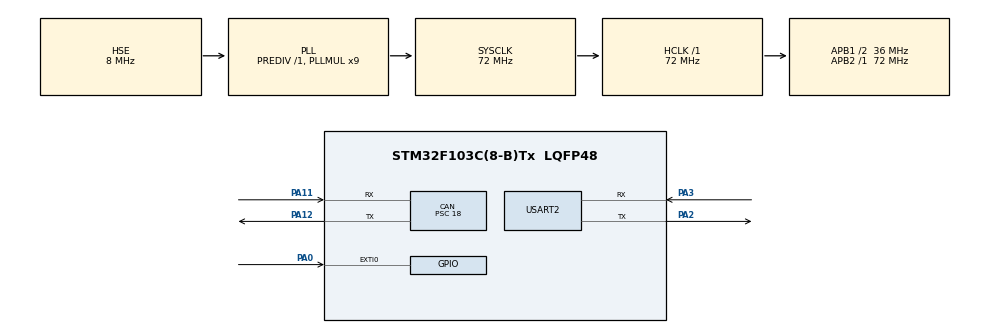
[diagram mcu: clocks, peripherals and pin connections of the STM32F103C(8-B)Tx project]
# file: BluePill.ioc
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CAN.BS1=CAN_BS1_2TQ
CAN.CalculateBaudRate=500000
CAN.CalculateTimeBit=2000
CAN.CalculateTimeQuantum=500.0
CAN.Prescaler=18
Mcu.Family=STM32F1
Mcu.Name=STM32F103C(8-B)Tx
Mcu.Package=LQFP48
NVIC.PriorityGroup=NVIC_PRIORITYGROUP_4
PA0-WKUP.Signal=GPXTI0
PA11.Mode=CAN_Activate
PA11.Signal=CAN_RX
PA12.Mode=CAN_Activate
PA12.Signal=CAN_TX
PA13.Mode=Serial_Wire
PA13.Signal=SYS_JTMS-SWDIO
PA14.Mode=Serial_Wire
PA14.Signal=SYS_JTCK-SWCLK
PA2.Mode=Asynchronous
PA2.Signal=USART2_TX
PA3.Mode=Asynchronous
PA3.Signal=USART2_RX
PD0-OSC_IN.Mode=HSE-External-Oscillator
PD0-OSC_IN.Signal=RCC_OSC_IN
PD1-OSC_OUT.Mode=HSE-External-Oscillator
PD1-OSC_OUT.Signal=RCC_OSC_OUT
ProjectManager.HeapSize=0x200
ProjectManager.StackSize=0x400
ProjectManager.TargetToolchain=STM32CubeIDE
RCC.ADCPresc=RCC_ADCPCLK2_DIV6
RCC.AHBFreq_Value=72000000
RCC.APB1CLKDivider=RCC_HCLK_DIV2
RCC.APB1Freq_Value=36000000
RCC.APB1TimFreq_Value=72000000
RCC.APB2Freq_Value=72000000
RCC.APB2TimFreq_Value=72000000
RCC.HCLKFreq_Value=72000000
RCC.PLLMUL=RCC_PLL_MUL9
RCC.PLLSourceVirtual=RCC_PLLSOURCE_HSE
RCC.SYSCLKFreq_VALUE=72000000
RCC.SYSCLKSource=RCC_SYSCLKSOURCE_PLLCLK
RCC.USBFreq_Value=72000000
USART2.VirtualMode=VM_ASYNC
board=custom

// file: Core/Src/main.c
/* USER CODE BEGIN Header */
/**
  ******************************************************************************
  * @file           : main.c
  * @brief          : Main program body
  ******************************************************************************
  * @attention
  *
  * Copyright (c) 2024 STMicroelectronics.
  * All rights reserved.
  *
  * This software is licensed under terms that can be found in the LICENSE file
  * in the root directory of this software component.
  * If no LICENSE file comes with this software, it is provided AS-IS.
  *
  ******************************************************************************
  */
/* USER CODE END Header */
#include "main.h"

CAN_HandleTypeDef hcan;

UART_HandleTypeDef huart2;

void SystemClock_Config(void);
static void MX_GPIO_Init(void);
static void MX_USART2_UART_Init(void);
static void MX_CAN_Init(void);

/* USER CODE BEGIN 0 */
int __io_putchar(int ch)
{
	HAL_UART_Transmit(&huart2, (uint8_t*)&ch, 1, 1000);
}

CAN_TxHeaderTypeDef TxHeader;
CAN_RxHeaderTypeDef RxHeader;

uint8_t TxData[3] = {0x01, 0xF4,  3};
uint8_t RxData[8] = {0};

uint32_t TxMailBox;

uint32_t adcValue = 0;

void CAN_TxHeaderInit()
{

	TxHeader.DLC = 3;
	TxHeader.StdId = 0x103;
	TxHeader.IDE = CAN_ID_STD;
	TxHeader.RTR = CAN_RTR_DATA;
	if(HAL_CAN_AddTxMessage(&hcan, &TxHeader,TxData , &TxMailBox) != HAL_OK)
	{
		Error_Handler();
	}
	while(HAL_CAN_IsTxMessagePending(&hcan, TxMailBox));
	printf("Message Sent\n");
}
/* USER CODE END 0 */
void EXTI0_IRQHandler(void)
{
    if (__HAL_GPIO_EXTI_GET_IT(GPIO_PIN_0) != SET)
    {
        __HAL_GPIO_EXTI_CLEAR_IT(GPIO_PIN_0);

       CAN_TxHeaderInit();
    }
}

int main(void)
{

  /* MCU Configuration--------------------------------------------------------*/

  /* Reset of all peripherals, Initializes the Flash interface and the Systick. */
  HAL_Init();

  /* Configure the system clock */
  SystemClock_Config();

  /* Initialize all configured peripherals */
  MX_GPIO_Init();
  MX_USART2_UART_Init();
  MX_CAN_Init();
  /* USER CODE BEGIN 2 */

  HAL_CAN_Start(&hcan);
  CAN_TxHeaderInit();

  /* USER CODE END 2 */

  /* Infinite loop */
  while (1)
  {

  }
}

void SystemClock_Config(void)
{
  RCC_OscInitTypeDef RCC_OscInitStruct = {0};
  RCC_ClkInitTypeDef RCC_ClkInitStruct = {0};

  /** Initializes the RCC Oscillators according to the specified parameters
  * in the RCC_OscInitTypeDef structure.
  */
  RCC_OscInitStruct.OscillatorType = RCC_OSCILLATORTYPE_HSE;
  RCC_OscInitStruct.HSEState = RCC_HSE_ON;
  RCC_OscInitStruct.HSEPredivValue = RCC_HSE_PREDIV_DIV1;
  RCC_OscInitStruct.HSIState = RCC_HSI_ON;
  RCC_OscInitStruct.PLL.PLLState = RCC_PLL_ON;
  RCC_OscInitStruct.PLL.PLLSource = RCC_PLLSOURCE_HSE;
  RCC_OscInitStruct.PLL.PLLMUL = RCC_PLL_MUL9;
  if (HAL_RCC_OscConfig(&RCC_OscInitStruct) != HAL_OK)
  {
    Error_Handler();
  }

  /** Initializes the CPU, AHB and APB buses clocks
  */
  RCC_ClkInitStruct.ClockType = RCC_CLOCKTYPE_HCLK|RCC_CLOCKTYPE_SYSCLK
                              |RCC_CLOCKTYPE_PCLK1|RCC_CLOCKTYPE_PCLK2;
  RCC_ClkInitStruct.SYSCLKSource = RCC_SYSCLKSOURCE_PLLCLK;
  RCC_ClkInitStruct.AHBCLKDivider = RCC_SYSCLK_DIV1;
  RCC_ClkInitStruct.APB1CLKDivider = RCC_HCLK_DIV2;
  RCC_ClkInitStruct.APB2CLKDivider = RCC_HCLK_DIV1;

  if (HAL_RCC_ClockConfig(&RCC_ClkInitStruct, FLASH_LATENCY_2) != HAL_OK)
  {
    Error_Handler();
  }
}

static void MX_CAN_Init(void)
{

  hcan.Instance = CAN1;
  hcan.Init.Prescaler = 18;
  hcan.Init.Mode = CAN_MODE_NORMAL;
  hcan.Init.SyncJumpWidth = CAN_SJW_1TQ;
  hcan.Init.TimeSeg1 = CAN_BS1_2TQ;
  hcan.Init.TimeSeg2 = CAN_BS2_1TQ;
  hcan.Init.TimeTriggeredMode = DISABLE;
  hcan.Init.AutoBusOff = DISABLE;
  hcan.Init.AutoWakeUp = DISABLE;
  hcan.Init.AutoRetransmission = DISABLE;
  hcan.Init.ReceiveFifoLocked = DISABLE;
  hcan.Init.TransmitFifoPriority = DISABLE;
  if (HAL_CAN_Init(&hcan) != HAL_OK)
  {
    Error_Handler();
  }

}

static void MX_USART2_UART_Init(void)
{

  huart2.Instance = USART2;
  huart2.Init.BaudRate = 115200;
  huart2.Init.WordLength = UART_WORDLENGTH_8B;
  huart2.Init.StopBits = UART_STOPBITS_1;
  huart2.Init.Parity = UART_PARITY_NONE;
  huart2.Init.Mode = UART_MODE_TX_RX;
  huart2.Init.HwFlowCtl = UART_HWCONTROL_NONE;
  huart2.Init.OverSampling = UART_OVERSAMPLING_16;
  if (HAL_UART_Init(&huart2) != HAL_OK)
  {
    Error_Handler();
  }

}

static void MX_GPIO_Init(void)
{
  GPIO_InitTypeDef GPIO_InitStruct = {0};

  /* GPIO Ports Clock Enable */
  __HAL_RCC_GPIOD_CLK_ENABLE();
  __HAL_RCC_GPIOA_CLK_ENABLE();

  /*Configure GPIO pin : PA0 */
  GPIO_InitStruct.Pin = GPIO_PIN_0;
  GPIO_InitStruct.Mode = GPIO_MODE_IT_FALLING;
  GPIO_InitStruct.Pull = GPIO_PULLUP;
  HAL_GPIO_Init(GPIOA, &GPIO_InitStruct);
  HAL_NVIC_EnableIRQ(EXTI0_IRQn);

}

void Error_Handler(void)
{
  __disable_irq();
  while (1)
  {
  }
}
